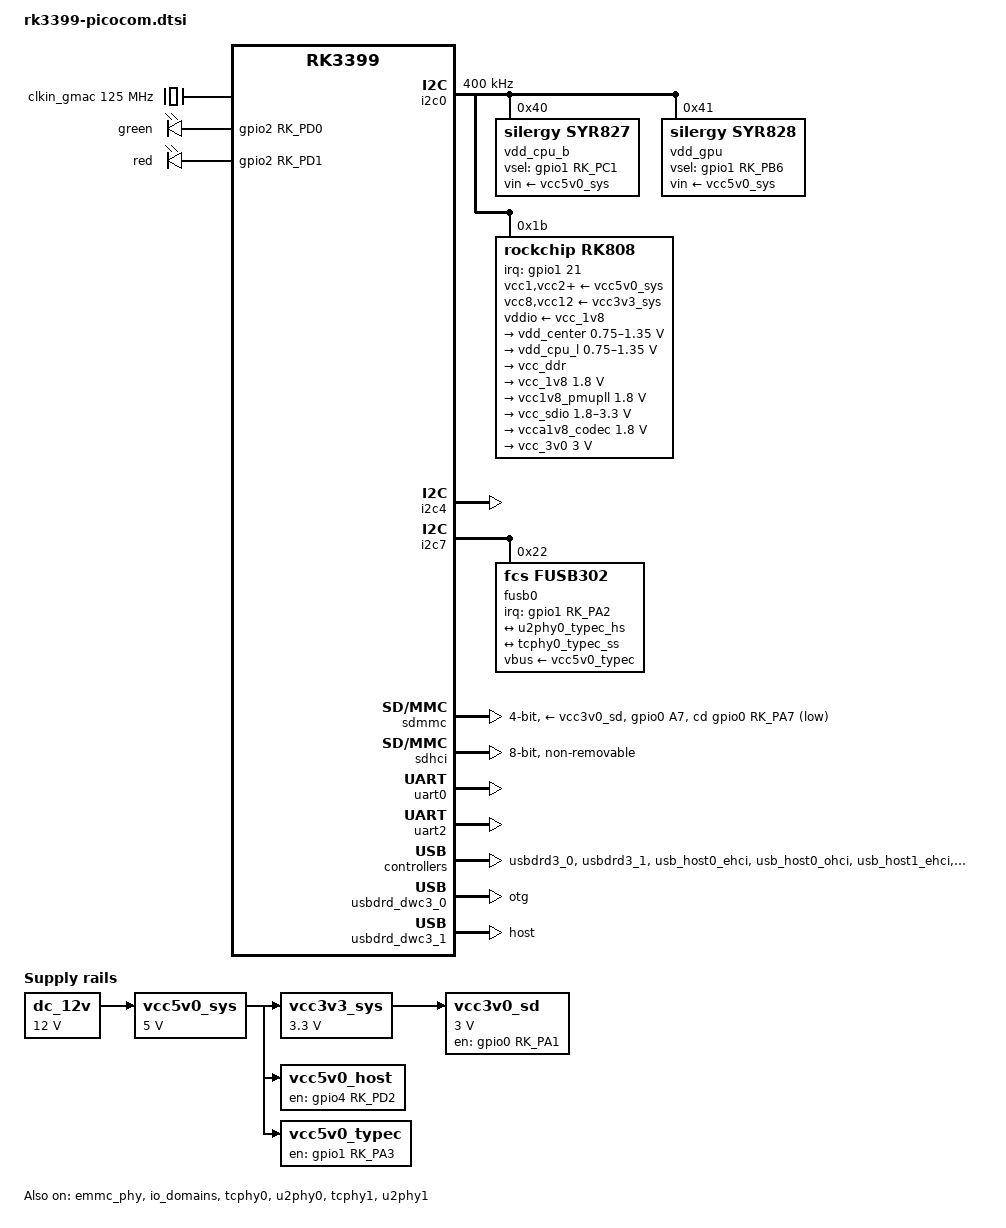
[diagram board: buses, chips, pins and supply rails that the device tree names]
// SPDX-License-Identifier: (GPL-2.0+ OR MIT)
/*
 * Copyright (c) 2025 picocom Ltd.
 */

/dts-v1/;
#include <dt-bindings/input/linux-event-codes.h>
#include "dt-bindings/usb/pd.h"
#include "rk3399.dtsi"
#include "rk3399-opp.dtsi"

/ {
	aliases {
		mmc0 = &sdio0;
		mmc1 = &sdmmc;
		mmc2 = &sdhci;
	};

	chosen {
		stdout-path = "serial2:1500000n8";
	};

	clkin_gmac: external-gmac-clock {
		compatible = "fixed-clock";
		clock-frequency = <125000000>;
		clock-output-names = "clkin_gmac";
		#clock-cells = <0>;
	};

	leds {
		compatible = "gpio-leds";
		pinctrl-names = "default";
		pinctrl-0 = <&green_led_pin>, <&red_led_pin>;

		green_led: led-0 {
			label = "green";
			default-state = "on";
			gpios = <&gpio2 RK_PD0 GPIO_ACTIVE_HIGH>;
		};

		red_led: led-1 {
			label = "red";
			default-state = "off";
			gpios = <&gpio2 RK_PD1 GPIO_ACTIVE_HIGH>;
		};
	};

	dc_12v: dc-12v {
		compatible = "regulator-fixed";
		regulator-name = "dc_12v";
		regulator-always-on;
		regulator-boot-on;
		regulator-min-microvolt = <12000000>;
		regulator-max-microvolt = <12000000>;
	};

	vcc5v0_sys: vcc5v0-sys {
		compatible = "regulator-fixed";
		regulator-name = "vcc5v0_sys";
		regulator-always-on;
		regulator-boot-on;
		regulator-min-microvolt = <5000000>;
		regulator-max-microvolt = <5000000>;
		vin-supply = <&dc_12v>;
	};

	vcc3v3_sys: vcc3v3-sys {
		compatible = "regulator-fixed";
		regulator-always-on;
		regulator-boot-on;
		regulator-min-microvolt = <3300000>;
		regulator-max-microvolt = <3300000>;
		regulator-name = "vcc3v3_sys";
		vin-supply = <&vcc5v0_sys>;
	};

	vcc3v0_sd: vcc3v0-sd {
		compatible = "regulator-fixed";
		enable-active-high;
		gpio = <&gpio0 RK_PA1 GPIO_ACTIVE_HIGH>;
		pinctrl-names = "default";
		pinctrl-0 = <&sdmmc0_pwr_h>;
		regulator-always-on;
		regulator-min-microvolt = <3000000>;
		regulator-max-microvolt = <3000000>;
		regulator-name = "vcc3v0_sd";
		vin-supply = <&vcc3v3_sys>;
	};

	vcc5v0_host: vcc5v0-host-regulator {
		compatible = "regulator-fixed";
		enable-active-high;
		gpio = <&gpio4 RK_PD2 GPIO_ACTIVE_HIGH>;
		pinctrl-names = "default";
		pinctrl-0 = <&host_vbus_drv>;
		regulator-name = "vcc5v0_host";
		regulator-always-on;
		vin-supply = <&vcc5v0_sys>;
	};

	vcc5v0_typec: vcc5v0-typec-regulator {
		compatible = "regulator-fixed";
		enable-active-high;
		gpio = <&gpio1 RK_PA3 GPIO_ACTIVE_HIGH>;
		pinctrl-names = "default";
		pinctrl-0 = <&vcc5v0_typec_en>;
		regulator-name = "vcc5v0_typec";
		regulator-always-on;
		vin-supply = <&vcc5v0_sys>;
	};
};

&cpu_l0 {
	cpu-supply = <&vdd_cpu_l>;
};

&cpu_l1 {
	cpu-supply = <&vdd_cpu_l>;
};

&cpu_l2 {
	cpu-supply = <&vdd_cpu_l>;
};

&cpu_l3 {
	cpu-supply = <&vdd_cpu_l>;
};

&cpu_b0 {
	cpu-supply = <&vdd_cpu_b>;
};

&cpu_b1 {
	cpu-supply = <&vdd_cpu_b>;
};

&emmc_phy {
	status = "okay";
};

&i2c0 {
	i2c-scl-rising-time-ns = <160>;
	i2c-scl-falling-time-ns = <4>;
	clock-frequency = <400000>;
	status = "okay";

	vdd_cpu_b: regulator@40 {
		compatible = "silergy,syr827";
		reg = <0x40>;
		pinctrl-names = "default";
		pinctrl-0 = <&cpu_b_sleep>;
		vsel-gpios = <&gpio1 RK_PC1 GPIO_ACTIVE_HIGH>;
		regulator-name = "vdd_cpu_b";
		regulator-min-microvolt = <712500>;
		regulator-max-microvolt = <1500000>;
		regulator-ramp-delay = <1000>;
		fcs,suspend-voltage-selector = <1>;
		regulator-always-on;
		regulator-boot-on;
		vin-supply = <&vcc5v0_sys>;

		regulator-state-mem {
			regulator-off-in-suspend;
		};
	};

	vdd_gpu: regulator@41 {
		compatible = "silergy,syr828";
		reg = <0x41>;
		pinctrl-names = "default";
		pinctrl-0 = <&gpu_sleep>;
		vsel-gpios = <&gpio1 RK_PB6 GPIO_ACTIVE_HIGH>;
		regulator-name = "vdd_gpu";
		regulator-min-microvolt = <712500>;
		regulator-max-microvolt = <1500000>;
		regulator-ramp-delay = <1000>;
		fcs,suspend-voltage-selector = <1>;
		regulator-always-on;
		regulator-boot-on;
		vin-supply = <&vcc5v0_sys>;

		regulator-state-mem {
			regulator-off-in-suspend;
		};
	};

	rk808: pmic@1b {
		compatible = "rockchip,rk808";
		reg = <0x1b>;
		interrupt-parent = <&gpio1>;
		interrupts = <21 IRQ_TYPE_LEVEL_LOW>;
		pinctrl-names = "default";
		pinctrl-0 = <&pmic_int_l>, <&ap_pwroff>, <&clk_32k>;
		rockchip,system-power-controller;
		wakeup-source;
		#clock-cells = <1>;
		clock-output-names = "xin32k", "rtc_clko_wifi";

		vcc1-supply = <&vcc5v0_sys>;
		vcc2-supply = <&vcc5v0_sys>;
		vcc3-supply = <&vcc5v0_sys>;
		vcc4-supply = <&vcc5v0_sys>;
		vcc6-supply = <&vcc5v0_sys>;
		vcc7-supply = <&vcc5v0_sys>;
		vcc8-supply = <&vcc3v3_sys>;
		vcc9-supply = <&vcc5v0_sys>;
		vcc10-supply = <&vcc5v0_sys>;
		vcc11-supply = <&vcc5v0_sys>;
		vcc12-supply = <&vcc3v3_sys>;
		vddio-supply = <&vcc_1v8>;

		regulators {
			vdd_center: DCDC_REG1 {
				regulator-name = "vdd_center";
				regulator-min-microvolt = <750000>;
				regulator-max-microvolt = <1350000>;
				regulator-ramp-delay = <6001>;
				regulator-always-on;
				regulator-boot-on;

				regulator-state-mem {
					regulator-off-in-suspend;
				};
			};

			vdd_cpu_l: DCDC_REG2 {
				regulator-name = "vdd_cpu_l";
				regulator-min-microvolt = <750000>;
				regulator-max-microvolt = <1350000>;
				regulator-ramp-delay = <6001>;
				regulator-always-on;
				regulator-boot-on;

				regulator-state-mem {
					regulator-off-in-suspend;
				};
			};

			vcc_ddr: DCDC_REG3 {
				regulator-name = "vcc_ddr";
				regulator-always-on;
				regulator-boot-on;

				regulator-state-mem {
					regulator-on-in-suspend;
				};
			};

			vcc_1v8: DCDC_REG4 {
				regulator-name = "vcc_1v8";
				regulator-min-microvolt = <1800000>;
				regulator-max-microvolt = <1800000>;
				regulator-always-on;
				regulator-boot-on;

				regulator-state-mem {
					regulator-on-in-suspend;
					regulator-suspend-microvolt = <1800000>;
				};
			};

			vcc1v8_pmupll: LDO_REG3 {
				regulator-name = "vcc1v8_pmupll";
				regulator-min-microvolt = <1800000>;
				regulator-max-microvolt = <1800000>;
				regulator-always-on;
				regulator-boot-on;

				regulator-state-mem {
					regulator-on-in-suspend;
					regulator-suspend-microvolt = <1800000>;
				};
			};

			vcc_sdio: LDO_REG4 {
				regulator-always-on;
				regulator-boot-on;
				regulator-min-microvolt = <1800000>;
				regulator-max-microvolt = <3300000>;
				regulator-name = "vcc_sdio";

				regulator-state-mem {
					regulator-on-in-suspend;
					regulator-suspend-microvolt = <3000000>;
				};
			};

			vcca1v8_codec: LDO_REG7 {
				regulator-name = "vcca1v8_codec";
				regulator-min-microvolt = <1800000>;
				regulator-max-microvolt = <1800000>;
				regulator-always-on;
				regulator-boot-on;

				regulator-state-mem {
					regulator-off-in-suspend;
				};
			};

			vcc_3v0: LDO_REG8 {
				regulator-name = "vcc_3v0";
				regulator-min-microvolt = <3000000>;
				regulator-max-microvolt = <3000000>;
				regulator-always-on;
				regulator-boot-on;

				regulator-state-mem {
					regulator-on-in-suspend;
					regulator-suspend-microvolt = <3000000>;
				};
			};
		};
	};
};

&i2c4 {
	status = "okay";
	i2c-scl-rising-time-ns = <475>;
	i2c-scl-falling-time-ns = <26>;
};

&i2c7 {
	status = "okay";
	i2c-scl-rising-time-ns = <475>;
	i2c-scl-falling-time-ns = <26>;

	fusb0: typec-portc@22 {
		compatible = "fcs,fusb302";
		reg = <0x22>;
		interrupt-parent = <&gpio1>;
		interrupts = <RK_PA2 IRQ_TYPE_LEVEL_LOW>;
		pinctrl-names = "default";
		pinctrl-0 = <&fusb0_int>;
		vbus-supply = <&vcc5v0_typec>;
		status = "okay";

		connector {
			compatible = "usb-c-connector";
			data-role = "dual";
			label = "USB-C";
			op-sink-microwatt = <1000000>;
			power-role = "dual";
			sink-pdos =
				<PDO_FIXED(5000, 2500, PDO_FIXED_USB_COMM)>;
			source-pdos =
				<PDO_FIXED(5000, 1400, PDO_FIXED_USB_COMM)>;
			try-power-role = "sink";

			ports {
				#address-cells = <1>;
				#size-cells = <0>;

				port@0 {
					reg = <0>;

					usbc_hs: endpoint {
						remote-endpoint =
							<&u2phy0_typec_hs>;
					};
				};

				port@1 {
					reg = <1>;

					usbc_ss: endpoint {
						remote-endpoint =
							<&tcphy0_typec_ss>;
					};
				};
			};
		};
	};
};

&io_domains {
	bt656-supply = <&vcc_1v8>;
	audio-supply = <&vcca1v8_codec>;
	sdmmc-supply = <&vcc_sdio>;
	gpio1830-supply = <&vcc_3v0>;
	status = "okay";
};

&pinctrl {
	leds {
		green_led_pin: green-led-pin {
			rockchip,pins = <2 RK_PD0 RK_FUNC_GPIO &pcfg_pull_none>;
		};

		red_led_pin: red-led-pin {
			rockchip,pins = <2 RK_PD1 RK_FUNC_GPIO &pcfg_pull_none>;
		};
	};

	fusb30x {
		fusb0_int: fusb0-int {
			rockchip,pins = <1 RK_PA2 RK_FUNC_GPIO &pcfg_pull_up>;
		};

		vcc5v0_typec_en: vcc5v0-typec-en {
			rockchip,pins = <1 RK_PA3 RK_FUNC_GPIO &pcfg_pull_up>;
		};
	};

	usb2 {
		host_vbus_drv: host-vbus-drv {
			rockchip,pins = <4 RK_PD2 RK_FUNC_GPIO &pcfg_pull_none>;
		};
	};

	gmac {
		phy_intb: phy-intb {
			rockchip,pins = <1 RK_PC4 RK_FUNC_GPIO &pcfg_pull_up>;
		};

		phy_rstb: phy-rstb {
			rockchip,pins = <3 RK_PB7 RK_FUNC_GPIO &pcfg_pull_none>;
		};
	};

	pmic {
		cpu_b_sleep: cpu-b-sleep {
			rockchip,pins = <1 RK_PC1 RK_FUNC_GPIO &pcfg_pull_down>;
		};

		gpu_sleep: gpu-sleep {
			rockchip,pins = <1 RK_PB6 RK_FUNC_GPIO &pcfg_pull_down>;
		};

		pmic_int_l: pmic-int-l {
			rockchip,pins = <1 RK_PC5 RK_FUNC_GPIO &pcfg_pull_up>;
		};
	};

	sdmmc {
		sdmmc0_det_l: sdmmc0-det-l {
			rockchip,pins = <0 RK_PA7 RK_FUNC_GPIO &pcfg_pull_up>;
		};

		sdmmc0_pwr_h: sdmmc0-pwr-h {
			rockchip,pins = <0 RK_PA1 RK_FUNC_GPIO &pcfg_pull_none>;
		};
	};
};

&pmu_io_domains {
	pmu1830-supply = <&vcc_1v8>;
	status = "okay";
};

&sdmmc {
	bus-width = <4>;
	cap-mmc-highspeed;
	cap-sd-highspeed;
	cd-gpios = <&gpio0 RK_PA7 GPIO_ACTIVE_LOW>;
	disable-wp;
	max-frequency = <150000000>;
	pinctrl-names = "default";
	pinctrl-0 = <&sdmmc_bus4 &sdmmc_clk &sdmmc_cmd &sdmmc0_det_l>;
	vmmc-supply = <&vcc3v0_sd>;
	vqmmc-supply = <&vcc_sdio>;
	status = "okay";
};

&sdhci {
	bus-width = <8>;
	mmc-hs400-1_8v;
	no-sdio;
	no-sd;
	non-removable;
	keep-power-in-suspend;
	mmc-hs400-enhanced-strobe;
	status = "okay";
};

&uart0 {
	pinctrl-names = "default";
	pinctrl-0 = <&uart0_xfer>;
	status = "okay";
};

&uart2 {
	status = "okay";
};

&usbdrd3_0 {
	status = "okay";

};

&usbdrd_dwc3_0 {
	status = "okay";
	dr_mode = "otg";
};

&tcphy0 {
	status = "okay";
};

&tcphy0_usb3 {
	port {
		tcphy0_typec_ss: endpoint {
			remote-endpoint = <&usbc_ss>;
		};
	};
};

&u2phy0 {
	status = "okay";

	u2phy0_otg: otg-port {
		status = "okay";
	};

	u2phy0_host: host-port {
		phy-supply = <&vcc5v0_host>;
		status = "okay";
	};

	port {
		u2phy0_typec_hs: endpoint {
			remote-endpoint = <&usbc_hs>;
		};
	};
};

&usbdrd3_1 {
	status = "okay";
};

&usbdrd_dwc3_1 {
	dr_mode = "host";
	status = "okay";
};

&tcphy1 {
	status = "okay";
};

&u2phy1 {
	status = "okay";

	u2phy1_otg: otg-port {
		status = "okay";
	};

	u2phy1_host: host-port {
		phy-supply = <&vcc5v0_host>;
		status = "okay";
	};
};

&usb_host0_ehci {
	status = "okay";
};

&usb_host0_ohci {
	status = "okay";
};

&usb_host1_ehci {
	status = "okay";
};

&usb_host1_ohci {
	status = "okay";
};
